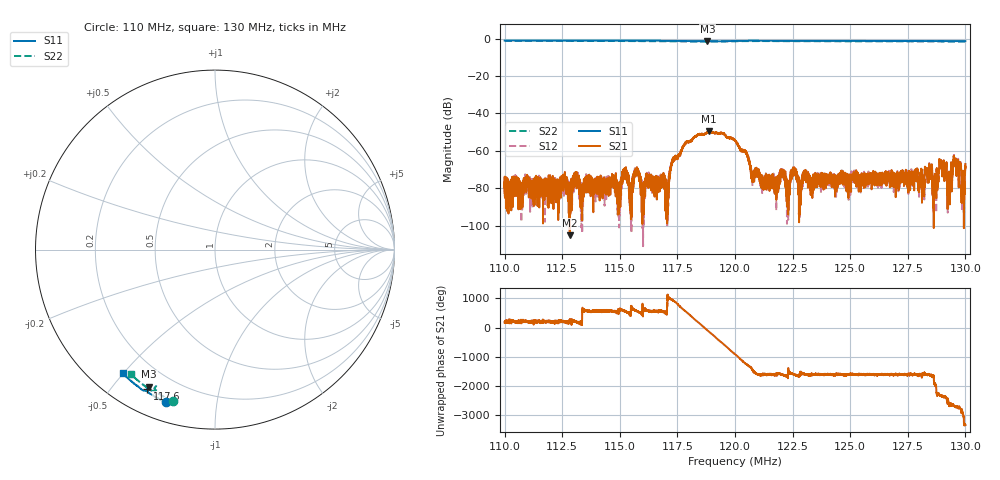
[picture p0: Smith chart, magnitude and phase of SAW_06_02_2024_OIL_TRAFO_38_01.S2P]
!Agilent Technologies,E5071C,MY46520923,B.12.03
!Date: Tue Feb 06 09:33:40 2024
!Data & Calibration Information:
!Freq	S11:SOLT2(ON)	S21:SOLT2(ON)	S12:SOLT2(ON)	S22:SOLT2(ON)
!PortZ  Port1:50+j0  Port2:50+j0
!Above PortZ is port z conversion or system Z0 setting when saving the data.
!When reading, reference impedance value at option line is always used.
# Hz S dB R 50
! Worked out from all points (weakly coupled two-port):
!   10000 points, 110 MHz to 130 MHz, reference 50 ohm
!   highest |S21| = -49.44 dB at 118.9 MHz (marker M1); lowest = -105.2 dB at 112.8 MHz (marker M2)
!   lowest |S11| = -1.4 dB at 118.8 MHz (marker M3), VSWR 12.02, Z = 5.79 - j31.2 ohm
!   |S11| at or under -10 dB: nowhere
!   |S22| runs from -1.6 to -1.1 dB; largest |S21 - S12| = 0.0002
!   S11 on the Smith chart (normalised r, x): 110 MHz: 0.09, -0.73; 117.6 MHz: 0.10, -0.62; 130 MHz: 0.09, -0.50
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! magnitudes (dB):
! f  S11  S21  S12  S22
! 110 MHz  -1.0  -82.7  -79.7  -1.1
! 112.8 MHz  -1.0  -105.2  -79.6  -1.2
! 113.3 MHz  -1.0  -83.8  -85.7  -1.2
! 115 MHz  -1.1  -81.7  -86.4  -1.3
! 115.2 MHz  -1.1  -70.6  -73.9  -1.3
! 115.5 MHz  -1.1  -80.9  -88.9  -1.3
! 115.7 MHz  -1.1  -70.6  -70.7  -1.3
! 116 MHz  -1.1  -82.0  -87.4  -1.3
! 116.7 MHz  -1.1  -77.5  -77.2  -1.3
! 117 MHz  -1.2  -82.9  -96.4  -1.4
! 117.6 MHz  -1.3  -62.2  -61.5  -1.5
! 118.8 MHz  -1.4  -50.1  -50.4  -1.6
! 118.9 MHz  -1.4  -49.4  -49.4  -1.6
! 120 MHz  -1.2  -54.3  -54.6  -1.4
! 121.2 MHz  -1.1  -76.6  -75.6  -1.3
! 122.1 MHz  -1.2  -70.8  -71.7  -1.3
! 122.3 MHz  -1.2  -80.3  -80.5  -1.4
! 122.6 MHz  -1.2  -72.2  -71.1  -1.4
! 122.8 MHz  -1.2  -94.3  -78.5  -1.4
! 123.3 MHz  -1.2  -76.1  -77.0  -1.4
! 126.7 MHz  -1.2  -72.4  -71.9  -1.5
! 130 MHz  -1.3  -67.0  -67.4  -1.5
